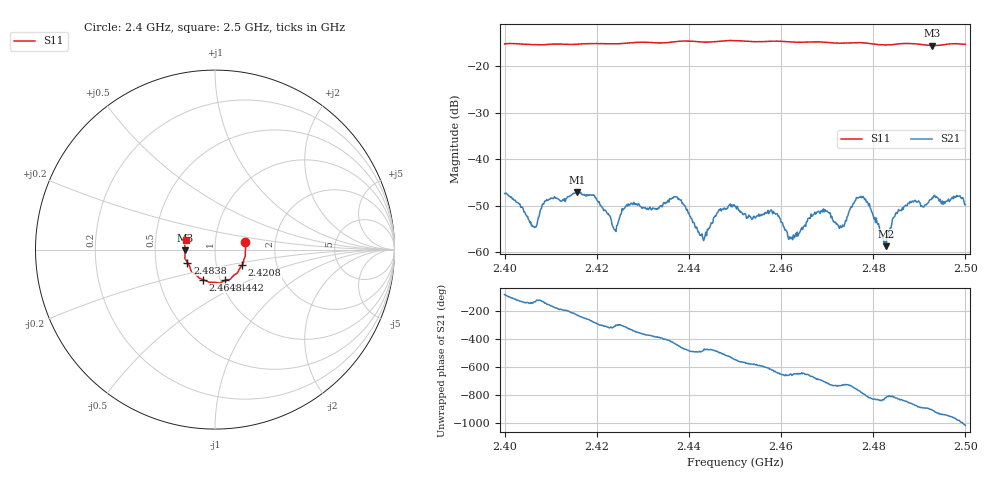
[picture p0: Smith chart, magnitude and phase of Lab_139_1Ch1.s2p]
# Hz S RI R 50
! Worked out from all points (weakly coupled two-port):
!   601 points, 2.4 GHz to 2.5 GHz, reference 50 ohm
!   highest |S21| = -47.04 dB at 2.4157 GHz (marker M1); lowest = -58.7 dB at 2.4828 GHz (marker M2)
!   lowest |S11| = -15.6 dB at 2.4928 GHz (marker M3), VSWR 1.40, Z = 35.8 - j0.347 ohm
!   |S11| at or under -10 dB: start of sweep to end of sweep
!   S12 and S22 are empty: the file has one direction only
!   S11 on the Smith chart (normalised r, x): 2.4 GHz: 1.40, +0.12; 2.4208 GHz: 1.33, -0.24; 2.4442 GHz: 1.05, -0.37; 2.4648 GHz: 0.83, -0.29; 2.4838 GHz: 0.73, -0.11; 2.5 GHz: 0.72, +0.08
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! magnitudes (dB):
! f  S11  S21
! 2.4 GHz  -15.2  -47.4
! 2.4063 GHz  -15.4  -54.5
! 2.4088 GHz  -15.4  -48.9
! 2.4157 GHz  -15.3  -47.0
! 2.4167 GHz  -15.2  -47.5
! 2.4208 GHz  -15.2  -50.0
! 2.4238 GHz  -15.2  -55.2
! 2.427 GHz  -15.1  -49.9
! 2.4333 GHz  -15.0  -50.5
! 2.4373 GHz  -14.7  -48.1
! 2.4442 GHz  -14.9  -55.2
! 2.45 GHz  -14.5  -50.2
! 2.462 GHz  -14.8  -56.8
! 2.4648 GHz  -14.9  -54.5
! 2.4667 GHz  -14.8  -52.3
! 2.4732 GHz  -15.1  -54.7
! 2.4775 GHz  -15.0  -48.3
! 2.4828 GHz  -15.5  -58.7
! 2.4833 GHz  -15.5  -56.2
! 2.4838 GHz  -15.4  -54.8
! 2.4928 GHz  -15.6  -48.2
! 2.5 GHz  -15.4  -49.8
